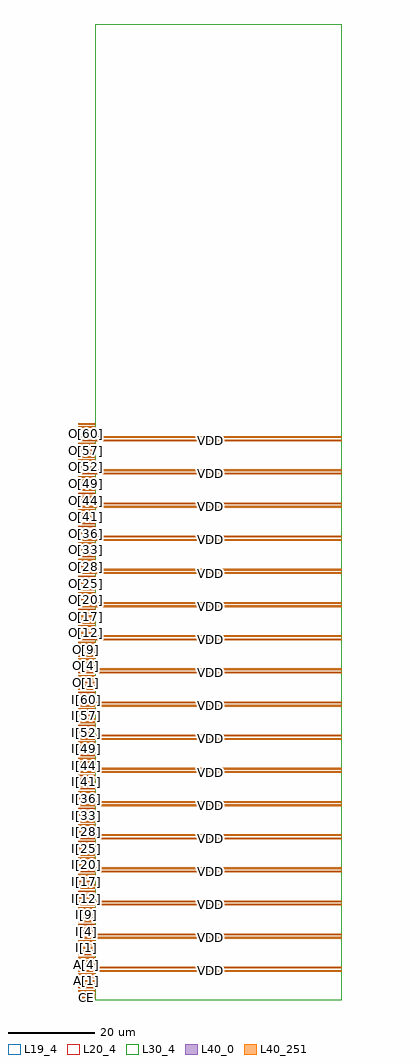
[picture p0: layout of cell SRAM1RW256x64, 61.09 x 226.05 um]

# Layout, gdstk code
import gdstk
lib = gdstk.Library(unit=1e-6, precision=1e-09)
def R(c, l, rs):  # rectangles x0, y0, x1, y1
    for r in rs: c.add(gdstk.rectangle(r[:2], r[2:], *l))
def A(c, l, x, y, w, h, nx, ny, dx, dy):  # array of equal rectangles
    R(c, l, [(x+i*dx, y+j*dy, x+i*dx+w, y+j*dy+h) for i in range(nx) for j in range(ny)])
L19_4 = (19, 4)
L20_4 = (20, 4)
L30_4 = (30, 4)
L40_0 = (40, 0)
L40_251 = (40, 251)

sram1rw256x64 = lib.new_cell('SRAM1RW256x64')
R(sram1rw256x64, L19_4, [(4,0,61.088,226.048)])
R(sram1rw256x64, L20_4, [(4,0,61.088,226.048)])
R(sram1rw256x64, L30_4, [(4,0,61.088,226.048)])
A(sram1rw256x64, L40_0, 0, 0.384, 4, 0.384, 1, 8, 0, 0.768)
A(sram1rw256x64, L40_0, 0, 8.064, 4, 0.384, 1, 8, 0, 0.768)
A(sram1rw256x64, L40_0, 0, 15.744, 4, 0.384, 1, 8, 0, 0.768)
A(sram1rw256x64, L40_0, 0, 23.424, 4, 0.384, 1, 8, 0, 0.768)
A(sram1rw256x64, L40_0, 0, 31.104, 4, 0.384, 1, 8, 0, 0.768)
A(sram1rw256x64, L40_0, 0, 38.784, 4, 0.384, 1, 8, 0, 0.768)
A(sram1rw256x64, L40_0, 0, 46.464, 4, 0.384, 1, 8, 0, 0.768)
A(sram1rw256x64, L40_0, 0, 54.144, 4, 0.384, 1, 8, 0, 0.768)
A(sram1rw256x64, L40_0, 0, 61.824, 4, 0.384, 1, 8, 0, 0.768)
A(sram1rw256x64, L40_0, 0, 69.504, 4, 0.384, 1, 8, 0, 0.768)
A(sram1rw256x64, L40_0, 0, 77.184, 4, 0.384, 1, 8, 0, 0.768)
A(sram1rw256x64, L40_0, 0, 84.864, 4, 0.384, 1, 8, 0, 0.768)
A(sram1rw256x64, L40_0, 0, 92.544, 4, 0.384, 1, 8, 0, 0.768)
A(sram1rw256x64, L40_0, 0, 100.224, 4, 0.384, 1, 8, 0, 0.768)
A(sram1rw256x64, L40_0, 0, 107.904, 4, 0.384, 1, 8, 0, 0.768)
A(sram1rw256x64, L40_0, 0, 115.584, 4, 0.384, 1, 8, 0, 0.768)
A(sram1rw256x64, L40_0, 0, 123.264, 4, 0.384, 1, 8, 0, 0.768)
A(sram1rw256x64, L40_0, 0, 130.944, 4, 0.384, 1, 4, 0, 0.768)
R(sram1rw256x64, L40_0, [(0,6.528,61.088,6.912), (0,7.296,61.088,7.68), (0,14.208,61.088,14.592), (0,14.976,61.088,15.36), (0,21.888,61.088,22.272), (0,22.656,61.088,23.04), (0,29.568,61.088,29.952), (0,30.336,61.088,30.72), (0,37.248,61.088,37.632), (0,38.016,61.088,38.4), (0,44.928,61.088,45.312), (0,45.696,61.088,46.08), (0,52.608,61.088,52.992), (0,53.376,61.088,53.76), (0,60.288,61.088,60.672), (0,61.056,61.088,61.44), (0,67.968,61.088,68.352), (0,68.736,61.088,69.12), (0,75.648,61.088,76.032), (0,76.416,61.088,76.8), (0,83.328,61.088,83.712), (0,84.096,61.088,84.48), (0,91.008,61.088,91.392), (0,91.776,61.088,92.16), (0,98.688,61.088,99.072), (0,99.456,61.088,99.84), (0,106.368,61.088,106.752), (0,107.136,61.088,107.52), (0,114.048,61.088,114.432), (0,114.816,61.088,115.2), (0,121.728,61.088,122.112), (0,122.496,61.088,122.88), (0,129.408,61.088,129.792), (0,130.176,61.088,130.56)])
A(sram1rw256x64, L40_251, 0, 0.384, 4, 0.384, 1, 8, 0, 0.768)
A(sram1rw256x64, L40_251, 0, 8.064, 4, 0.384, 1, 8, 0, 0.768)
A(sram1rw256x64, L40_251, 0, 15.744, 4, 0.384, 1, 8, 0, 0.768)
A(sram1rw256x64, L40_251, 0, 23.424, 4, 0.384, 1, 8, 0, 0.768)
A(sram1rw256x64, L40_251, 0, 31.104, 4, 0.384, 1, 8, 0, 0.768)
A(sram1rw256x64, L40_251, 0, 38.784, 4, 0.384, 1, 8, 0, 0.768)
A(sram1rw256x64, L40_251, 0, 46.464, 4, 0.384, 1, 8, 0, 0.768)
A(sram1rw256x64, L40_251, 0, 54.144, 4, 0.384, 1, 8, 0, 0.768)
A(sram1rw256x64, L40_251, 0, 61.824, 4, 0.384, 1, 8, 0, 0.768)
A(sram1rw256x64, L40_251, 0, 69.504, 4, 0.384, 1, 8, 0, 0.768)
A(sram1rw256x64, L40_251, 0, 77.184, 4, 0.384, 1, 8, 0, 0.768)
A(sram1rw256x64, L40_251, 0, 84.864, 4, 0.384, 1, 8, 0, 0.768)
A(sram1rw256x64, L40_251, 0, 92.544, 4, 0.384, 1, 8, 0, 0.768)
A(sram1rw256x64, L40_251, 0, 100.224, 4, 0.384, 1, 8, 0, 0.768)
A(sram1rw256x64, L40_251, 0, 107.904, 4, 0.384, 1, 8, 0, 0.768)
A(sram1rw256x64, L40_251, 0, 115.584, 4, 0.384, 1, 8, 0, 0.768)
A(sram1rw256x64, L40_251, 0, 123.264, 4, 0.384, 1, 8, 0, 0.768)
A(sram1rw256x64, L40_251, 0, 130.944, 4, 0.384, 1, 4, 0, 0.768)
R(sram1rw256x64, L40_251, [(0,6.528,61.088,6.912), (0,7.296,61.088,7.68), (0,14.208,61.088,14.592), (0,14.976,61.088,15.36), (0,21.888,61.088,22.272), (0,22.656,61.088,23.04), (0,29.568,61.088,29.952), (0,30.336,61.088,30.72), (0,37.248,61.088,37.632), (0,38.016,61.088,38.4), (0,44.928,61.088,45.312), (0,45.696,61.088,46.08), (0,52.608,61.088,52.992), (0,53.376,61.088,53.76), (0,60.288,61.088,60.672), (0,61.056,61.088,61.44), (0,67.968,61.088,68.352), (0,68.736,61.088,69.12), (0,75.648,61.088,76.032), (0,76.416,61.088,76.8), (0,83.328,61.088,83.712), (0,84.096,61.088,84.48), (0,91.008,61.088,91.392), (0,91.776,61.088,92.16), (0,98.688,61.088,99.072), (0,99.456,61.088,99.84), (0,106.368,61.088,106.752), (0,107.136,61.088,107.52), (0,114.048,61.088,114.432), (0,114.816,61.088,115.2), (0,121.728,61.088,122.112), (0,122.496,61.088,122.88), (0,129.408,61.088,129.792), (0,130.176,61.088,130.56)])
sram1rw256x64.add(gdstk.Label('CE', (2,0.576), layer=40, texttype=0))
sram1rw256x64.add(gdstk.Label('WEB', (2,1.344), layer=40, texttype=0))
sram1rw256x64.add(gdstk.Label('OEB', (2,2.112), layer=40, texttype=0))
sram1rw256x64.add(gdstk.Label('CSB', (2,2.88), layer=40, texttype=0))
sram1rw256x64.add(gdstk.Label('A[0]', (2,3.648), layer=40, texttype=0))
sram1rw256x64.add(gdstk.Label('A[1]', (2,4.416), layer=40, texttype=0))
sram1rw256x64.add(gdstk.Label('A[2]', (2,5.184), layer=40, texttype=0))
sram1rw256x64.add(gdstk.Label('A[3]', (2,5.952), layer=40, texttype=0))
sram1rw256x64.add(gdstk.Label('A[4]', (2,8.256), layer=40, texttype=0))
sram1rw256x64.add(gdstk.Label('A[5]', (2,9.024), layer=40, texttype=0))
sram1rw256x64.add(gdstk.Label('A[6]', (2,9.792), layer=40, texttype=0))
sram1rw256x64.add(gdstk.Label('A[7]', (2,10.56), layer=40, texttype=0))
sram1rw256x64.add(gdstk.Label('I[0]', (2,11.328), layer=40, texttype=0))
sram1rw256x64.add(gdstk.Label('I[1]', (2,12.096), layer=40, texttype=0))
sram1rw256x64.add(gdstk.Label('I[2]', (2,12.864), layer=40, texttype=0))
sram1rw256x64.add(gdstk.Label('I[3]', (2,13.632), layer=40, texttype=0))
sram1rw256x64.add(gdstk.Label('I[4]', (2,15.936), layer=40, texttype=0))
sram1rw256x64.add(gdstk.Label('I[5]', (2,16.704), layer=40, texttype=0))
sram1rw256x64.add(gdstk.Label('I[6]', (2,17.472), layer=40, texttype=0))
sram1rw256x64.add(gdstk.Label('I[7]', (2,18.24), layer=40, texttype=0))
sram1rw256x64.add(gdstk.Label('I[8]', (2,19.008), layer=40, texttype=0))
sram1rw256x64.add(gdstk.Label('I[9]', (2,19.776), layer=40, texttype=0))
sram1rw256x64.add(gdstk.Label('I[10]', (2,20.544), layer=40, texttype=0))
sram1rw256x64.add(gdstk.Label('I[11]', (2,21.312), layer=40, texttype=0))
sram1rw256x64.add(gdstk.Label('I[12]', (2,23.616), layer=40, texttype=0))
sram1rw256x64.add(gdstk.Label('I[13]', (2,24.384), layer=40, texttype=0))
sram1rw256x64.add(gdstk.Label('I[14]', (2,25.152), layer=40, texttype=0))
sram1rw256x64.add(gdstk.Label('I[15]', (2,25.92), layer=40, texttype=0))
sram1rw256x64.add(gdstk.Label('I[16]', (2,26.688), layer=40, texttype=0))
sram1rw256x64.add(gdstk.Label('I[17]', (2,27.456), layer=40, texttype=0))
sram1rw256x64.add(gdstk.Label('I[18]', (2,28.224), layer=40, texttype=0))
sram1rw256x64.add(gdstk.Label('I[19]', (2,28.992), layer=40, texttype=0))
sram1rw256x64.add(gdstk.Label('I[20]', (2,31.296), layer=40, texttype=0))
sram1rw256x64.add(gdstk.Label('I[21]', (2,32.064), layer=40, texttype=0))
sram1rw256x64.add(gdstk.Label('I[22]', (2,32.832), layer=40, texttype=0))
sram1rw256x64.add(gdstk.Label('I[23]', (2,33.6), layer=40, texttype=0))
sram1rw256x64.add(gdstk.Label('I[24]', (2,34.368), layer=40, texttype=0))
sram1rw256x64.add(gdstk.Label('I[25]', (2,35.136), layer=40, texttype=0))
sram1rw256x64.add(gdstk.Label('I[26]', (2,35.904), layer=40, texttype=0))
sram1rw256x64.add(gdstk.Label('I[27]', (2,36.672), layer=40, texttype=0))
sram1rw256x64.add(gdstk.Label('I[28]', (2,38.976), layer=40, texttype=0))
sram1rw256x64.add(gdstk.Label('I[29]', (2,39.744), layer=40, texttype=0))
sram1rw256x64.add(gdstk.Label('I[30]', (2,40.512), layer=40, texttype=0))
sram1rw256x64.add(gdstk.Label('I[31]', (2,41.28), layer=40, texttype=0))
sram1rw256x64.add(gdstk.Label('I[32]', (2,42.048), layer=40, texttype=0))
sram1rw256x64.add(gdstk.Label('I[33]', (2,42.816), layer=40, texttype=0))
sram1rw256x64.add(gdstk.Label('I[34]', (2,43.584), layer=40, texttype=0))
sram1rw256x64.add(gdstk.Label('I[35]', (2,44.352), layer=40, texttype=0))
sram1rw256x64.add(gdstk.Label('I[36]', (2,46.656), layer=40, texttype=0))
sram1rw256x64.add(gdstk.Label('I[37]', (2,47.424), layer=40, texttype=0))
sram1rw256x64.add(gdstk.Label('I[38]', (2,48.192), layer=40, texttype=0))
sram1rw256x64.add(gdstk.Label('I[39]', (2,48.96), layer=40, texttype=0))
sram1rw256x64.add(gdstk.Label('I[40]', (2,49.728), layer=40, texttype=0))
sram1rw256x64.add(gdstk.Label('I[41]', (2,50.496), layer=40, texttype=0))
sram1rw256x64.add(gdstk.Label('I[42]', (2,51.264), layer=40, texttype=0))
sram1rw256x64.add(gdstk.Label('I[43]', (2,52.032), layer=40, texttype=0))
sram1rw256x64.add(gdstk.Label('I[44]', (2,54.336), layer=40, texttype=0))
sram1rw256x64.add(gdstk.Label('I[45]', (2,55.104), layer=40, texttype=0))
sram1rw256x64.add(gdstk.Label('I[46]', (2,55.872), layer=40, texttype=0))
sram1rw256x64.add(gdstk.Label('I[47]', (2,56.64), layer=40, texttype=0))
sram1rw256x64.add(gdstk.Label('I[48]', (2,57.408), layer=40, texttype=0))
sram1rw256x64.add(gdstk.Label('I[49]', (2,58.176), layer=40, texttype=0))
sram1rw256x64.add(gdstk.Label('I[50]', (2,58.944), layer=40, texttype=0))
sram1rw256x64.add(gdstk.Label('I[51]', (2,59.712), layer=40, texttype=0))
sram1rw256x64.add(gdstk.Label('I[52]', (2,62.016), layer=40, texttype=0))
sram1rw256x64.add(gdstk.Label('I[53]', (2,62.784), layer=40, texttype=0))
sram1rw256x64.add(gdstk.Label('I[54]', (2,63.552), layer=40, texttype=0))
sram1rw256x64.add(gdstk.Label('I[55]', (2,64.32), layer=40, texttype=0))
sram1rw256x64.add(gdstk.Label('I[56]', (2,65.088), layer=40, texttype=0))
sram1rw256x64.add(gdstk.Label('I[57]', (2,65.856), layer=40, texttype=0))
sram1rw256x64.add(gdstk.Label('I[58]', (2,66.624), layer=40, texttype=0))
sram1rw256x64.add(gdstk.Label('I[59]', (2,67.392), layer=40, texttype=0))
sram1rw256x64.add(gdstk.Label('I[60]', (2,69.696), layer=40, texttype=0))
sram1rw256x64.add(gdstk.Label('I[61]', (2,70.464), layer=40, texttype=0))
sram1rw256x64.add(gdstk.Label('I[62]', (2,71.232), layer=40, texttype=0))
sram1rw256x64.add(gdstk.Label('I[63]', (2,72), layer=40, texttype=0))
sram1rw256x64.add(gdstk.Label('O[0]', (2,72.768), layer=40, texttype=0))
sram1rw256x64.add(gdstk.Label('O[1]', (2,73.536), layer=40, texttype=0))
sram1rw256x64.add(gdstk.Label('O[2]', (2,74.304), layer=40, texttype=0))
sram1rw256x64.add(gdstk.Label('O[3]', (2,75.072), layer=40, texttype=0))
sram1rw256x64.add(gdstk.Label('O[4]', (2,77.376), layer=40, texttype=0))
sram1rw256x64.add(gdstk.Label('O[5]', (2,78.144), layer=40, texttype=0))
sram1rw256x64.add(gdstk.Label('O[6]', (2,78.912), layer=40, texttype=0))
sram1rw256x64.add(gdstk.Label('O[7]', (2,79.68), layer=40, texttype=0))
sram1rw256x64.add(gdstk.Label('O[8]', (2,80.448), layer=40, texttype=0))
sram1rw256x64.add(gdstk.Label('O[9]', (2,81.216), layer=40, texttype=0))
sram1rw256x64.add(gdstk.Label('O[10]', (2,81.984), layer=40, texttype=0))
sram1rw256x64.add(gdstk.Label('O[11]', (2,82.752), layer=40, texttype=0))
sram1rw256x64.add(gdstk.Label('O[12]', (2,85.056), layer=40, texttype=0))
sram1rw256x64.add(gdstk.Label('O[13]', (2,85.824), layer=40, texttype=0))
sram1rw256x64.add(gdstk.Label('O[14]', (2,86.592), layer=40, texttype=0))
sram1rw256x64.add(gdstk.Label('O[15]', (2,87.36), layer=40, texttype=0))
sram1rw256x64.add(gdstk.Label('O[16]', (2,88.128), layer=40, texttype=0))
sram1rw256x64.add(gdstk.Label('O[17]', (2,88.896), layer=40, texttype=0))
sram1rw256x64.add(gdstk.Label('O[18]', (2,89.664), layer=40, texttype=0))
sram1rw256x64.add(gdstk.Label('O[19]', (2,90.432), layer=40, texttype=0))
sram1rw256x64.add(gdstk.Label('O[20]', (2,92.736), layer=40, texttype=0))
sram1rw256x64.add(gdstk.Label('O[21]', (2,93.504), layer=40, texttype=0))
sram1rw256x64.add(gdstk.Label('O[22]', (2,94.272), layer=40, texttype=0))
sram1rw256x64.add(gdstk.Label('O[23]', (2,95.04), layer=40, texttype=0))
sram1rw256x64.add(gdstk.Label('O[24]', (2,95.808), layer=40, texttype=0))
sram1rw256x64.add(gdstk.Label('O[25]', (2,96.576), layer=40, texttype=0))
sram1rw256x64.add(gdstk.Label('O[26]', (2,97.344), layer=40, texttype=0))
sram1rw256x64.add(gdstk.Label('O[27]', (2,98.112), layer=40, texttype=0))
sram1rw256x64.add(gdstk.Label('O[28]', (2,100.416), layer=40, texttype=0))
sram1rw256x64.add(gdstk.Label('O[29]', (2,101.184), layer=40, texttype=0))
sram1rw256x64.add(gdstk.Label('O[30]', (2,101.952), layer=40, texttype=0))
sram1rw256x64.add(gdstk.Label('O[31]', (2,102.72), layer=40, texttype=0))
sram1rw256x64.add(gdstk.Label('O[32]', (2,103.488), layer=40, texttype=0))
sram1rw256x64.add(gdstk.Label('O[33]', (2,104.256), layer=40, texttype=0))
sram1rw256x64.add(gdstk.Label('O[34]', (2,105.024), layer=40, texttype=0))
sram1rw256x64.add(gdstk.Label('O[35]', (2,105.792), layer=40, texttype=0))
sram1rw256x64.add(gdstk.Label('O[36]', (2,108.096), layer=40, texttype=0))
sram1rw256x64.add(gdstk.Label('O[37]', (2,108.864), layer=40, texttype=0))
sram1rw256x64.add(gdstk.Label('O[38]', (2,109.632), layer=40, texttype=0))
sram1rw256x64.add(gdstk.Label('O[39]', (2,110.4), layer=40, texttype=0))
sram1rw256x64.add(gdstk.Label('O[40]', (2,111.168), layer=40, texttype=0))
sram1rw256x64.add(gdstk.Label('O[41]', (2,111.936), layer=40, texttype=0))
sram1rw256x64.add(gdstk.Label('O[42]', (2,112.704), layer=40, texttype=0))
sram1rw256x64.add(gdstk.Label('O[43]', (2,113.472), layer=40, texttype=0))
sram1rw256x64.add(gdstk.Label('O[44]', (2,115.776), layer=40, texttype=0))
sram1rw256x64.add(gdstk.Label('O[45]', (2,116.544), layer=40, texttype=0))
sram1rw256x64.add(gdstk.Label('O[46]', (2,117.312), layer=40, texttype=0))
sram1rw256x64.add(gdstk.Label('O[47]', (2,118.08), layer=40, texttype=0))
sram1rw256x64.add(gdstk.Label('O[48]', (2,118.848), layer=40, texttype=0))
sram1rw256x64.add(gdstk.Label('O[49]', (2,119.616), layer=40, texttype=0))
sram1rw256x64.add(gdstk.Label('O[50]', (2,120.384), layer=40, texttype=0))
sram1rw256x64.add(gdstk.Label('O[51]', (2,121.152), layer=40, texttype=0))
sram1rw256x64.add(gdstk.Label('O[52]', (2,123.456), layer=40, texttype=0))
sram1rw256x64.add(gdstk.Label('O[53]', (2,124.224), layer=40, texttype=0))
sram1rw256x64.add(gdstk.Label('O[54]', (2,124.992), layer=40, texttype=0))
sram1rw256x64.add(gdstk.Label('O[55]', (2,125.76), layer=40, texttype=0))
sram1rw256x64.add(gdstk.Label('O[56]', (2,126.528), layer=40, texttype=0))
sram1rw256x64.add(gdstk.Label('O[57]', (2,127.296), layer=40, texttype=0))
sram1rw256x64.add(gdstk.Label('O[58]', (2,128.064), layer=40, texttype=0))
sram1rw256x64.add(gdstk.Label('O[59]', (2,128.832), layer=40, texttype=0))
sram1rw256x64.add(gdstk.Label('O[60]', (2,131.136), layer=40, texttype=0))
sram1rw256x64.add(gdstk.Label('O[61]', (2,131.904), layer=40, texttype=0))
sram1rw256x64.add(gdstk.Label('O[62]', (2,132.672), layer=40, texttype=0))
sram1rw256x64.add(gdstk.Label('O[63]', (2,133.44), layer=40, texttype=0))
sram1rw256x64.add(gdstk.Label('VDD', (30.544,6.72), layer=40, texttype=0))
sram1rw256x64.add(gdstk.Label('VDD', (30.544,14.4), layer=40, texttype=0))
sram1rw256x64.add(gdstk.Label('VDD', (30.544,22.08), layer=40, texttype=0))
sram1rw256x64.add(gdstk.Label('VDD', (30.544,29.76), layer=40, texttype=0))
sram1rw256x64.add(gdstk.Label('VDD', (30.544,37.44), layer=40, texttype=0))
sram1rw256x64.add(gdstk.Label('VDD', (30.544,45.12), layer=40, texttype=0))
sram1rw256x64.add(gdstk.Label('VDD', (30.544,52.8), layer=40, texttype=0))
sram1rw256x64.add(gdstk.Label('VDD', (30.544,60.48), layer=40, texttype=0))
sram1rw256x64.add(gdstk.Label('VDD', (30.544,68.16), layer=40, texttype=0))
sram1rw256x64.add(gdstk.Label('VDD', (30.544,75.84), layer=40, texttype=0))
sram1rw256x64.add(gdstk.Label('VDD', (30.544,83.52), layer=40, texttype=0))
sram1rw256x64.add(gdstk.Label('VDD', (30.544,91.2), layer=40, texttype=0))
sram1rw256x64.add(gdstk.Label('VDD', (30.544,98.88), layer=40, texttype=0))
sram1rw256x64.add(gdstk.Label('VDD', (30.544,106.56), layer=40, texttype=0))
sram1rw256x64.add(gdstk.Label('VDD', (30.544,114.24), layer=40, texttype=0))
sram1rw256x64.add(gdstk.Label('VDD', (30.544,121.92), layer=40, texttype=0))
sram1rw256x64.add(gdstk.Label('VDD', (30.544,129.6), layer=40, texttype=0))
sram1rw256x64.add(gdstk.Label('VSS', (30.544,7.488), layer=40, texttype=0))
sram1rw256x64.add(gdstk.Label('VSS', (30.544,15.168), layer=40, texttype=0))
sram1rw256x64.add(gdstk.Label('VSS', (30.544,22.848), layer=40, texttype=0))
sram1rw256x64.add(gdstk.Label('VSS', (30.544,30.528), layer=40, texttype=0))
sram1rw256x64.add(gdstk.Label('VSS', (30.544,38.208), layer=40, texttype=0))
sram1rw256x64.add(gdstk.Label('VSS', (30.544,45.888), layer=40, texttype=0))
sram1rw256x64.add(gdstk.Label('VSS', (30.544,53.568), layer=40, texttype=0))
sram1rw256x64.add(gdstk.Label('VSS', (30.544,61.248), layer=40, texttype=0))
sram1rw256x64.add(gdstk.Label('VSS', (30.544,68.928), layer=40, texttype=0))
sram1rw256x64.add(gdstk.Label('VSS', (30.544,76.608), layer=40, texttype=0))
sram1rw256x64.add(gdstk.Label('VSS', (30.544,84.288), layer=40, texttype=0))
sram1rw256x64.add(gdstk.Label('VSS', (30.544,91.968), layer=40, texttype=0))
sram1rw256x64.add(gdstk.Label('VSS', (30.544,99.648), layer=40, texttype=0))
sram1rw256x64.add(gdstk.Label('VSS', (30.544,107.328), layer=40, texttype=0))
sram1rw256x64.add(gdstk.Label('VSS', (30.544,115.008), layer=40, texttype=0))
sram1rw256x64.add(gdstk.Label('VSS', (30.544,122.688), layer=40, texttype=0))
sram1rw256x64.add(gdstk.Label('VSS', (30.544,130.368), layer=40, texttype=0))

lib.write_gds('SRAM1RW256x64.gds')
